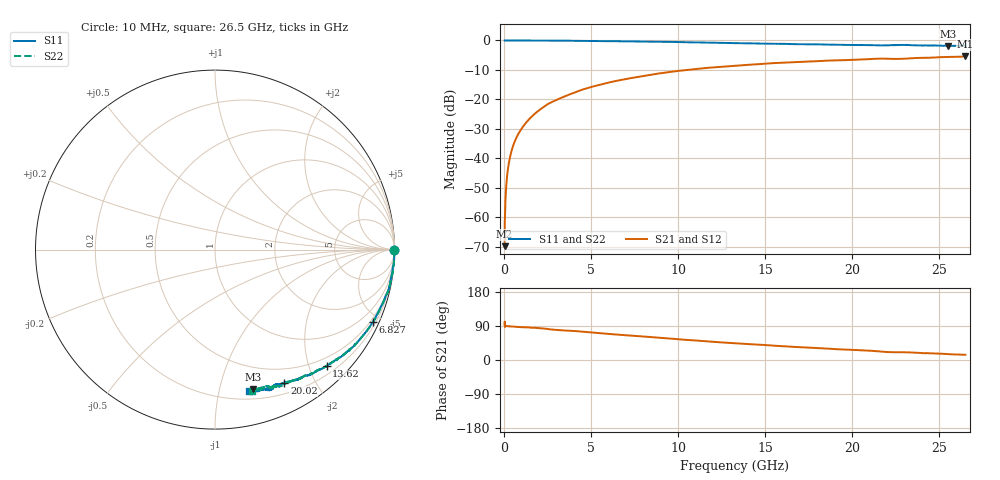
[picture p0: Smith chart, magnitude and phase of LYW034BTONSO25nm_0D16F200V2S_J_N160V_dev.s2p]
!Keysight Technologies,N5222B,MY61253708,A.15.00.15
!Date: Wednesday, June 19, 2024 10:17:21
!Correction: S11(C  2-Port  )
!S21(C  2-Port  )
!S12(C  2-Port  )
!S22(C  2-Port  )
!S2P File: Measurements: S11, S21, S12, S22:
# Hz S  RI  R 50
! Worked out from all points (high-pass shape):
!   2651 points, 10 MHz to 26.5 GHz, reference 50 ohm
!   highest |S21| = -5.43 dB at 26.5 GHz (marker M1); lowest = -69.9 dB at 10 MHz (marker M2)
!   |S21| within 3 dB of the highest: 13.58 GHz to end of sweep
!   lowest |S11| = -1.9 dB at 25.5 GHz (marker M3), VSWR 9.24, Z = 14.4 - j63.4 ohm
!   |S11| at or under -10 dB: nowhere
!   |S22| runs from -1.8 to 0.0 dB; largest |S21 - S12| = 0.0059
!   S11 on the Smith chart (normalised r, x): 10 MHz: open; 6.827 GHz: 0.36, -4.53; 13.62 GHz: 0.34, -2.30; 20.02 GHz: 0.32, -1.60; 26.5 GHz: 0.27, -1.24
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1e7  0.9987 -0.00295  -2.03e-05 0.00032  0.000327 0.00013  0.9987 -0.00156
7.997358e7  1 -0.00567  3.2e-05 0.00259  1.98e-05 0.00262  0.9994 -0.00525
1.499472e8  1 -0.0106  5.27e-05 0.0049  3.66e-05 0.00493  0.9996 -0.0101
1.999283e8  1 -0.0133  9.71e-05 0.00653  7.75e-05 0.00655  0.9997 -0.0127
2.699019e8  0.9999 -0.0181  0.000163 0.00883  0.000144 0.00887  1 -0.0173
3.698642e8  0.9998 -0.025  0.000313 0.0121  0.000308 0.0121  0.9995 -0.0242
4.998151e8  0.9988 -0.033  0.000517 0.0163  0.000548 0.0163  0.9991 -0.0321
6.597547e8  0.9985 -0.0428  0.000844 0.0214  0.000883 0.0215  0.9987 -0.0423
8.49683e8  0.9981 -0.0554  0.00146 0.0275  0.00148 0.0276  0.9979 -0.0554
1.459453e9  0.991 -0.0966  0.00349 0.0476  0.00349 0.0476  0.9934 -0.0929
2.349117e9  0.9824 -0.1508  0.00982 0.0773  0.01 0.0776  0.9837 -0.151
3.26877e9  0.9716 -0.2084  0.0211 0.1042  0.0213 0.1045  0.9709 -0.2085
4.428332e9  0.9445 -0.2768  0.0372 0.1396  0.0374 0.14  0.946 -0.2744
6.827426e9  0.8787 -0.4047  0.0887 0.1981  0.0896 0.1983  0.8802 -0.4035
8.846664e9  0.8088 -0.4973  0.1414 0.2346  0.1424 0.2347  0.81 -0.4962
1.3255e10  0.6359 -0.6386  0.267 0.2603  0.2685 0.2597  0.6389 -0.6378
1.362486e10  0.6215 -0.6493  0.2766 0.2596  0.2775 0.2588  0.6235 -0.6456
1.767333e10  0.4661 -0.7207  0.373 0.2347  0.3756 0.2328  0.4749 -0.7184
2.002245e10  0.3865 -0.7425  0.4189 0.2103  0.4212 0.2071  0.3981 -0.7421
2.209166e10  0.331 -0.7563  0.4564 0.1742  0.4575 0.1711  0.3231 -0.7621
2.550038e10  0.2117 -0.7764  0.5065 0.1388  0.5072 0.1382  0.2305 -0.7781
2.65e10  0.1919 -0.7903  0.52 0.1274  0.5189 0.1236  0.2039 -0.7881
